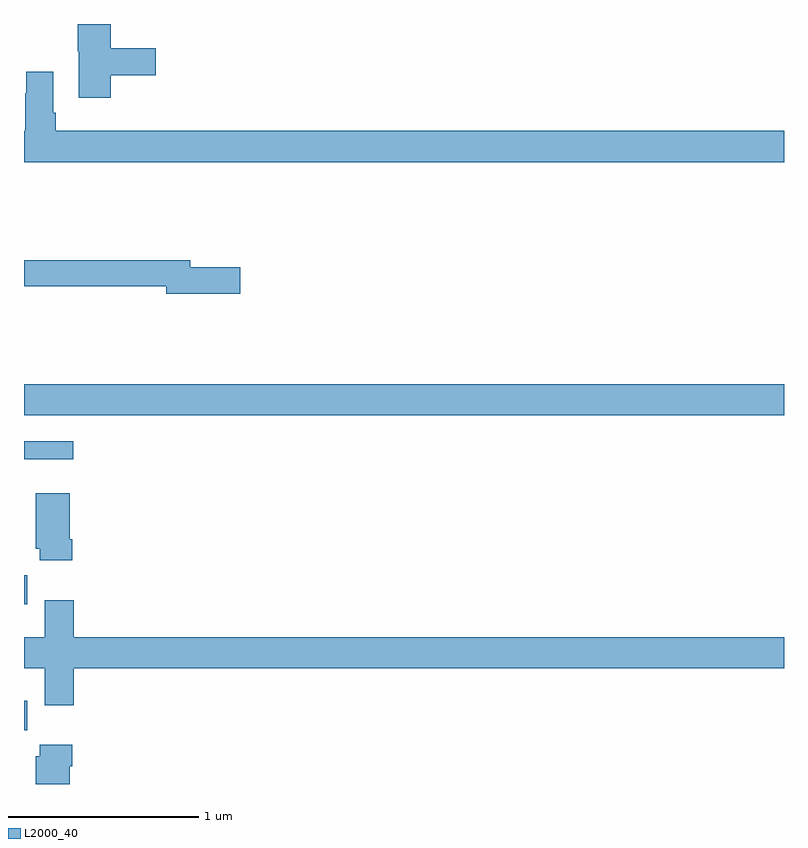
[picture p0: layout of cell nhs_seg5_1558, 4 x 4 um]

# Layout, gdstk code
import gdstk
lib = gdstk.Library(unit=1e-6, precision=1e-09)
def R(c, l, rs):  # rectangles x0, y0, x1, y1
    for r in rs: c.add(gdstk.rectangle(r[:2], r[2:], *l))
def P(c, l, *ps):  # polygons
    for p in ps: c.add(gdstk.Polygon(p, *l))
L2000_40 = (2000, 40)

nhs_seg5_1558 = lib.new_cell('nhs_seg5_1558')
R(nhs_seg5_1558, L2000_40, [(205,875.082,205.018,875.236), (205,875.744,205.018,875.898), (205,876.507,205.258,876.604), (205,876.74,209,876.904)])
P(nhs_seg5_1558, L2000_40, [(205.457,878.53),(205.693,878.53),(205.693,878.672),(205.457,878.672),(205.457,878.799),(205.282,878.799),(205.282,878.655),(205.289,878.655),(205.289,878.412),(205.457,878.412)],
  [(209,878.236),(205.166,878.236),(205.166,878.332),(205.153,878.332),(205.153,878.548),(205.013,878.548),(205.013,878.435),(205.006,878.435),(205.006,878.236),(205,878.236),(205,878.072),(209,878.072)],
  [(206.137,877.52),(205.876,877.52),(205.876,877.556),(205,877.556),(205,877.42),(205.748,877.42),(205.748,877.378),(206.137,877.378)],
  [(205.253,876.088),(205.24,876.088),(205.24,876.328),(205.061,876.328),(205.061,876.036),(205.082,876.036),(205.082,875.976),(205.253,875.976)],
  [(205.262,875.408),(209,875.408),(209,875.572),(205.262,875.572),(205.262,875.767),(205.109,875.767),(205.109,875.572),(205,875.572),(205,875.408),(205.109,875.408),(205.109,875.214),(205.262,875.214)],
  [(205.24,874.892),(205.253,874.892),(205.253,875.005),(205.082,875.005),(205.082,874.944),(205.061,874.944),(205.061,874.799),(205.24,874.799)])

lib.write_gds('nhs_seg5_1558.gds')
